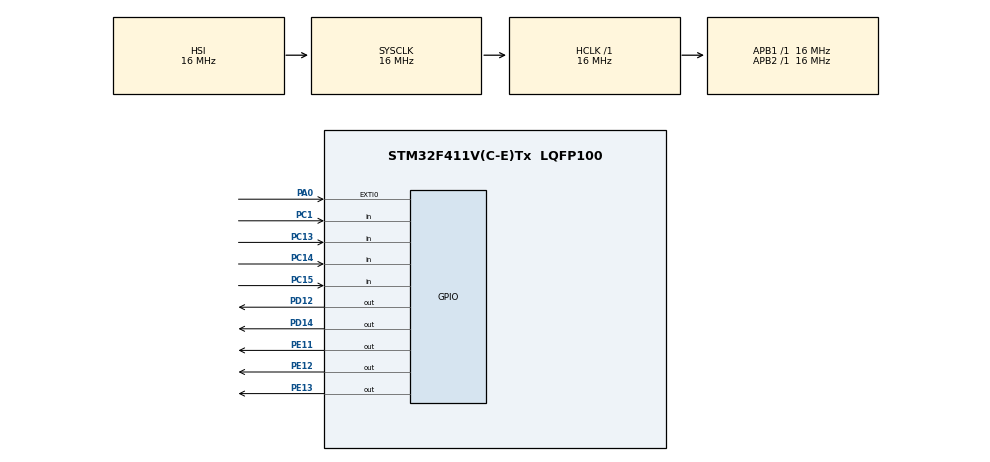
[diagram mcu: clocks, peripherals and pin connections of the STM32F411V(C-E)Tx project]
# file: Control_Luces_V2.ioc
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Mcu.Family=STM32F4
Mcu.Name=STM32F411V(C-E)Tx
Mcu.Package=LQFP100
NVIC.EXTI0_IRQn=true\:0\:0\:false\:true\:true\:1\:true
NVIC.PriorityGroup=NVIC_PRIORITYGROUP_4
NVIC.TIM2_IRQn=true\:0\:0\:false\:true\:true\:2\:true
PA0-WKUP.Signal=GPXTI0
PC1.Signal=GPIO_Input
PC13-ANTI_TAMP.Signal=GPIO_Input
PC14-OSC32_IN.Signal=GPIO_Input
PC15-OSC32_OUT.Signal=GPIO_Input
PD12.Signal=GPIO_Output
PD14.Signal=GPIO_Output
PE11.Signal=GPIO_Output
PE12.Signal=GPIO_Output
PE13.Signal=GPIO_Output
ProjectManager.HeapSize=0x200
ProjectManager.StackSize=0x400
ProjectManager.TargetToolchain=MDK-ARM V5
RCC.AHBFreq_Value=16000000
RCC.APB1Freq_Value=16000000
RCC.APB2Freq_Value=16000000
RCC.CortexFreq_Value=16000000
RCC.HSE_VALUE=25000000
RCC.HSI_VALUE=16000000
RCC.LSE_VALUE=32768
RCC.SYSCLKFreq_VALUE=16000000
RCC.VCOOutputFreq_Value=192000000
TIM2.Period=800
TIM2.Prescaler=35999
VP_TIM2_VS_ClockSourceINT.Mode=Internal
board=custom

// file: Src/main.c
/* USER CODE BEGIN Header */
/**
  ******************************************************************************
  * @file           : main.c
  * @brief          : Main program body
  ******************************************************************************
  ** This notice applies to any and all portions of this file
  * that are not between comment pairs USER CODE BEGIN and
  * USER CODE END. Other portions of this file, whether
  * inserted by the user or by software development tools
  * are owned by their respective copyright owners.
  *
  * COPYRIGHT(c) 2018 STMicroelectronics
  *
  * Redistribution and use in source and binary forms, with or without modification,
  * are permitted provided that the following conditions are met:
  *   1. Redistributions of source code must retain the above copyright notice,
  *      this list of conditions and the following disclaimer.
  *   2. Redistributions in binary form must reproduce the above copyright notice,
  *      this list of conditions and the following disclaimer in the documentation
  *      and/or other materials provided with the distribution.
  *   3. Neither the name of STMicroelectronics nor the names of its contributors
  *      may be used to endorse or promote products derived from this software
  *      without specific prior written permission.
  *
  * THIS SOFTWARE IS PROVIDED BY THE COPYRIGHT HOLDERS AND CONTRIBUTORS "AS IS"
  * AND ANY EXPRESS OR IMPLIED WARRANTIES, INCLUDING, BUT NOT LIMITED TO, THE
  * IMPLIED WARRANTIES OF MERCHANTABILITY AND FITNESS FOR A PARTICULAR PURPOSE ARE
  * DISCLAIMED. IN NO EVENT SHALL THE COPYRIGHT HOLDER OR CONTRIBUTORS BE LIABLE
  * FOR ANY DIRECT, INDIRECT, INCIDENTAL, SPECIAL, EXEMPLARY, OR CONSEQUENTIAL
  * DAMAGES (INCLUDING, BUT NOT LIMITED TO, PROCUREMENT OF SUBSTITUTE GOODS OR
  * SERVICES; LOSS OF USE, DATA, OR PROFITS; OR BUSINESS INTERRUPTION) HOWEVER
  * CAUSED AND ON ANY THEORY OF LIABILITY, WHETHER IN CONTRACT, STRICT LIABILITY,
  * OR TORT (INCLUDING NEGLIGENCE OR OTHERWISE) ARISING IN ANY WAY OUT OF THE USE
  * OF THIS SOFTWARE, EVEN IF ADVISED OF THE POSSIBILITY OF SUCH DAMAGE.
  ******************************************************************************
  */
/* USER CODE END Header */

#include "main.h"

TIM_HandleTypeDef htim2;

/* USER CODE BEGIN PV */
volatile int EnEspera_Funcionando = 0;
volatile int user_mode = 0;
/* USER CODE END PV */

void SystemClock_Config(void);
static void MX_GPIO_Init(void);
static void MX_TIM2_Init(void);
static void MX_NVIC_Init(void);

int main(void)
{

  /* MCU Configuration--------------------------------------------------------*/

  /* Reset of all peripherals, Initializes the Flash interface and the Systick. */
  HAL_Init();

  /* Configure the system clock */
  SystemClock_Config();

  /* Initialize all configured peripherals */
  MX_GPIO_Init();
  MX_TIM2_Init();

  /* Initialize interrupts */
  MX_NVIC_Init();
  /* USER CODE BEGIN 2 */
	HAL_TIM_Base_Start_IT(&htim2);
	user_mode = 0;
	EnEspera_Funcionando = 0;
  /* USER CODE END 2 */

  /* Infinite loop */
  while (1)
  {

    /* USER CODE BEGIN 3 */

		if (EnEspera_Funcionando == 0){
			HAL_GPIO_WritePin(GPIOD, GPIO_PIN_14, GPIO_PIN_RESET); //Led rojo

			//Cambio de user_mode por PC1
			if (HAL_GPIO_ReadPin(GPIOC, GPIO_PIN_1) == 0){
					HAL_GPIO_WritePin(GPIOE, GPIO_PIN_11, GPIO_PIN_RESET);
					HAL_GPIO_WritePin(GPIOE, GPIO_PIN_12, GPIO_PIN_RESET);
					HAL_GPIO_WritePin(GPIOE, GPIO_PIN_13, GPIO_PIN_RESET);
					user_mode = 1;
			}

			//Usuario en modo manual
			if (user_mode == 0){

				HAL_GPIO_WritePin (GPIOD, GPIO_PIN_12, GPIO_PIN_RESET); //Led verde

				if (HAL_GPIO_ReadPin(GPIOC, GPIO_PIN_15) == 0){
					HAL_GPIO_TogglePin(GPIOE, GPIO_PIN_11);
				}

				else if (HAL_GPIO_ReadPin(GPIOC, GPIO_PIN_14) == 0){
					HAL_GPIO_TogglePin(GPIOE, GPIO_PIN_12);
				}

				else if (HAL_GPIO_ReadPin(GPIOC, GPIO_PIN_13) == 0){
					HAL_GPIO_TogglePin(GPIOE, GPIO_PIN_13);
				}
			}

			//Usuario en modo automАtico
			else if (user_mode == 1){
				HAL_GPIO_WritePin (GPIOD, GPIO_PIN_12, GPIO_PIN_SET); //Led verde
				HAL_GPIO_TogglePin(GPIOE, GPIO_PIN_11);
				HAL_Delay(1500);

				HAL_GPIO_TogglePin(GPIOE, GPIO_PIN_13);
				HAL_GPIO_TogglePin(GPIOE, GPIO_PIN_12);
				HAL_Delay(1500);

				HAL_GPIO_TogglePin(GPIOE, GPIO_PIN_13);
				HAL_GPIO_TogglePin(GPIOE, GPIO_PIN_11);
				HAL_Delay(1500);

				HAL_GPIO_TogglePin(GPIOE, GPIO_PIN_12);
				HAL_Delay(1500);
			}
		}

		else if (EnEspera_Funcionando == 1){ //Modo standby
			HAL_GPIO_WritePin(GPIOD, GPIO_PIN_14, GPIO_PIN_SET); //Led rojo
			HAL_GPIO_WritePin (GPIOD, GPIO_PIN_12, GPIO_PIN_RESET); //Led verde
			HAL_GPIO_TogglePin(GPIOE, GPIO_PIN_11);
			HAL_GPIO_TogglePin(GPIOE, GPIO_PIN_12);
			HAL_GPIO_TogglePin(GPIOE, GPIO_PIN_13);
			HAL_Delay(200);
		}
  }
  /* USER CODE END 3 */
}

void SystemClock_Config(void)
{
  RCC_OscInitTypeDef RCC_OscInitStruct = {0};
  RCC_ClkInitTypeDef RCC_ClkInitStruct = {0};

  /**Configure the main internal regulator output voltage
  */
  __HAL_RCC_PWR_CLK_ENABLE();
  __HAL_PWR_VOLTAGESCALING_CONFIG(PWR_REGULATOR_VOLTAGE_SCALE1);
  /**Initializes the CPU, AHB and APB busses clocks
  */
  RCC_OscInitStruct.OscillatorType = RCC_OSCILLATORTYPE_HSI;
  RCC_OscInitStruct.HSIState = RCC_HSI_ON;
  RCC_OscInitStruct.HSICalibrationValue = RCC_HSICALIBRATION_DEFAULT;
  RCC_OscInitStruct.PLL.PLLState = RCC_PLL_NONE;
  if (HAL_RCC_OscConfig(&RCC_OscInitStruct) != HAL_OK)
  {
    Error_Handler();
  }
  /**Initializes the CPU, AHB and APB busses clocks
  */
  RCC_ClkInitStruct.ClockType = RCC_CLOCKTYPE_HCLK|RCC_CLOCKTYPE_SYSCLK
                              |RCC_CLOCKTYPE_PCLK1|RCC_CLOCKTYPE_PCLK2;
  RCC_ClkInitStruct.SYSCLKSource = RCC_SYSCLKSOURCE_HSI;
  RCC_ClkInitStruct.AHBCLKDivider = RCC_SYSCLK_DIV1;
  RCC_ClkInitStruct.APB1CLKDivider = RCC_HCLK_DIV1;
  RCC_ClkInitStruct.APB2CLKDivider = RCC_HCLK_DIV1;

  if (HAL_RCC_ClockConfig(&RCC_ClkInitStruct, FLASH_LATENCY_0) != HAL_OK)
  {
    Error_Handler();
  }
}

/**
  * @brief NVIC Configuration.
  * @retval None
  */
static void MX_NVIC_Init(void)
{
  /* EXTI0_IRQn interrupt configuration */
  HAL_NVIC_SetPriority(EXTI0_IRQn, 0, 0);
  HAL_NVIC_EnableIRQ(EXTI0_IRQn);
  /* TIM2_IRQn interrupt configuration */
  HAL_NVIC_SetPriority(TIM2_IRQn, 0, 0);
  HAL_NVIC_EnableIRQ(TIM2_IRQn);
}

static void MX_TIM2_Init(void)
{

  TIM_ClockConfigTypeDef sClockSourceConfig = {0};
  TIM_MasterConfigTypeDef sMasterConfig = {0};

  htim2.Instance = TIM2;
  htim2.Init.Prescaler = 35999;
  htim2.Init.CounterMode = TIM_COUNTERMODE_UP;
  htim2.Init.Period = 800;
  htim2.Init.ClockDivision = TIM_CLOCKDIVISION_DIV1;
  if (HAL_TIM_Base_Init(&htim2) != HAL_OK)
  {
    Error_Handler();
  }
  sClockSourceConfig.ClockSource = TIM_CLOCKSOURCE_INTERNAL;
  if (HAL_TIM_ConfigClockSource(&htim2, &sClockSourceConfig) != HAL_OK)
  {
    Error_Handler();
  }
  sMasterConfig.MasterOutputTrigger = TIM_TRGO_RESET;
  sMasterConfig.MasterSlaveMode = TIM_MASTERSLAVEMODE_DISABLE;
  if (HAL_TIMEx_MasterConfigSynchronization(&htim2, &sMasterConfig) != HAL_OK)
  {
    Error_Handler();
  }

}

static void MX_GPIO_Init(void)
{
  GPIO_InitTypeDef GPIO_InitStruct = {0};

  /* GPIO Ports Clock Enable */
  __HAL_RCC_GPIOC_CLK_ENABLE();
  __HAL_RCC_GPIOA_CLK_ENABLE();
  __HAL_RCC_GPIOE_CLK_ENABLE();
  __HAL_RCC_GPIOD_CLK_ENABLE();

  /*Configure GPIO pin Output Level */
  HAL_GPIO_WritePin(GPIOE, GPIO_PIN_11|GPIO_PIN_12|GPIO_PIN_13, GPIO_PIN_RESET);

  /*Configure GPIO pin Output Level */
  HAL_GPIO_WritePin(GPIOD, GPIO_PIN_12|GPIO_PIN_14, GPIO_PIN_RESET);

  /*Configure GPIO pins : PC13 PC14 PC15 PC1 */
  GPIO_InitStruct.Pin = GPIO_PIN_13|GPIO_PIN_14|GPIO_PIN_15|GPIO_PIN_1;
  GPIO_InitStruct.Mode = GPIO_MODE_INPUT;
  GPIO_InitStruct.Pull = GPIO_NOPULL;
  HAL_GPIO_Init(GPIOC, &GPIO_InitStruct);

  /*Configure GPIO pin : PA0 */
  GPIO_InitStruct.Pin = GPIO_PIN_0;
  GPIO_InitStruct.Mode = GPIO_MODE_IT_RISING;
  GPIO_InitStruct.Pull = GPIO_NOPULL;
  HAL_GPIO_Init(GPIOA, &GPIO_InitStruct);

  /*Configure GPIO pins : PE11 PE12 PE13 */
  GPIO_InitStruct.Pin = GPIO_PIN_11|GPIO_PIN_12|GPIO_PIN_13;
  GPIO_InitStruct.Mode = GPIO_MODE_OUTPUT_PP;
  GPIO_InitStruct.Pull = GPIO_NOPULL;
  GPIO_InitStruct.Speed = GPIO_SPEED_FREQ_LOW;
  HAL_GPIO_Init(GPIOE, &GPIO_InitStruct);

  /*Configure GPIO pins : PD12 PD14 */
  GPIO_InitStruct.Pin = GPIO_PIN_12|GPIO_PIN_14;
  GPIO_InitStruct.Mode = GPIO_MODE_OUTPUT_PP;
  GPIO_InitStruct.Pull = GPIO_NOPULL;
  GPIO_InitStruct.Speed = GPIO_SPEED_FREQ_LOW;
  HAL_GPIO_Init(GPIOD, &GPIO_InitStruct);
}

/* USER CODE BEGIN 4 */
void HAL_GPIO_EXTI_Callback(uint16_t GPIO_Pin)
{
	if (EnEspera_Funcionando == 0){
		HAL_GPIO_WritePin(GPIOE, GPIO_PIN_11, GPIO_PIN_RESET);
		HAL_GPIO_WritePin(GPIOE, GPIO_PIN_12, GPIO_PIN_RESET);
		HAL_GPIO_WritePin(GPIOE, GPIO_PIN_13, GPIO_PIN_RESET);
		EnEspera_Funcionando = 1;
	}

	else if(EnEspera_Funcionando == 1){
		HAL_GPIO_WritePin(GPIOE, GPIO_PIN_11, GPIO_PIN_RESET);
		HAL_GPIO_WritePin(GPIOE, GPIO_PIN_12, GPIO_PIN_RESET);
		HAL_GPIO_WritePin(GPIOE, GPIO_PIN_13, GPIO_PIN_RESET);
		EnEspera_Funcionando = 0;
	}
}

void HAL_TIM_PeriodElapsedCallback(TIM_HandleTypeDef *htim)
{
	if (htim->Instance == TIM2){	//Si la fuente es TIM2
		if ((HAL_GPIO_ReadPin(GPIOC, GPIO_PIN_1) == 0) && (user_mode == 1)){
			HAL_GPIO_WritePin(GPIOE, GPIO_PIN_11, GPIO_PIN_RESET);
			HAL_GPIO_WritePin(GPIOE, GPIO_PIN_12, GPIO_PIN_RESET);
			HAL_GPIO_WritePin(GPIOE, GPIO_PIN_13, GPIO_PIN_RESET);
			user_mode = 0;
		}
	}
}
/* USER CODE END 4 */

void Error_Handler(void)
{
}

/************************ (C) COPYRIGHT STMicroelectronics *****END OF FILE****/
